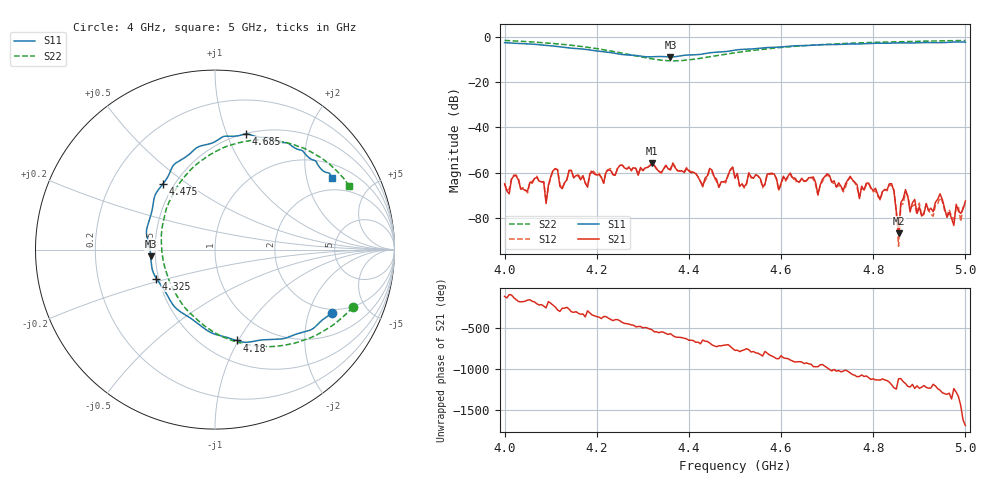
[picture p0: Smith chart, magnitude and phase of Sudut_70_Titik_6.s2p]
# Hz S RI R 50
! CMT, C1220, 16058040, 17.2.0/1
! Date: 15/08/2018 12:09:30
! Data: Format (Calibration Info)
! Freq  S11: Re/Im (F2)  S21: Re/Im (F2)  S12: Re/Im (F2)  S22: Re/Im (F2)
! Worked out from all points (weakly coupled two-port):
!   201 points, 4 GHz to 5 GHz, reference 50 ohm
!   highest |S21| = -55.87 dB at 4.32 GHz (marker M1); lowest = -86.9 dB at 4.855 GHz (marker M2)
!   lowest |S11| = -8.9 dB at 4.36 GHz (marker M3), VSWR 2.12, Z = 23.6 - j1.99 ohm
!   |S11| at or under -10 dB: nowhere
!   |S22| runs from -10.6 to -1.6 dB; largest |S21 - S12| = 0.00013
!   S11 on the Smith chart (normalised r, x): 4 GHz: 1.82, -2.86; 4.18 GHz: 0.71, -0.98; 4.325 GHz: 0.49, -0.18; 4.475 GHz: 0.43, +0.41; 4.685 GHz: 0.50, +1.17; 5 GHz: 1.48, +2.84
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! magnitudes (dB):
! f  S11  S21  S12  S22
! 4 GHz  -2.6  -65.1  -64.6  -1.6
! 4.07 GHz  -3.4  -62.1  -61.7  -2.4
! 4.09 GHz  -3.8  -73.7  -72.9  -2.7
! 4.11 GHz  -4.2  -58.4  -58.2  -3.0
! 4.125 GHz  -4.5  -67.2  -67.0  -3.3
! 4.17 GHz  -5.4  -61.5  -61.4  -4.4
! 4.18 GHz  -5.7  -66.5  -66.1  -4.6
! 4.32 GHz  -8.8  -55.9  -55.9  -9.7
! 4.325 GHz  -8.8  -57.0  -56.9  -9.9
! 4.335 GHz  -8.7  -59.5  -59.5  -10.2
! 4.36 GHz  -8.9  -58.9  -58.5  -10.6
! 4.475 GHz  -6.6  -64.1  -64.2  -7.9
! 4.5 GHz  -5.9  -62.6  -62.0  -7.1
! 4.67 GHz  -3.7  -62.0  -62.9  -3.6
! 4.685 GHz  -3.5  -65.4  -65.5  -3.5
! 4.835 GHz  -2.8  -65.0  -65.2  -2.3
! 4.855 GHz  -2.7  -86.9  -92.6  -2.2
! 4.87 GHz  -2.7  -67.6  -68.8  -2.1
! 4.905 GHz  -2.6  -79.2  -79.2  -1.9
! 4.945 GHz  -2.6  -69.4  -71.1  -1.8
! 4.96 GHz  -2.5  -79.8  -78.9  -1.7
! 5 GHz  -2.3  -72.6  -75.0  -1.6
